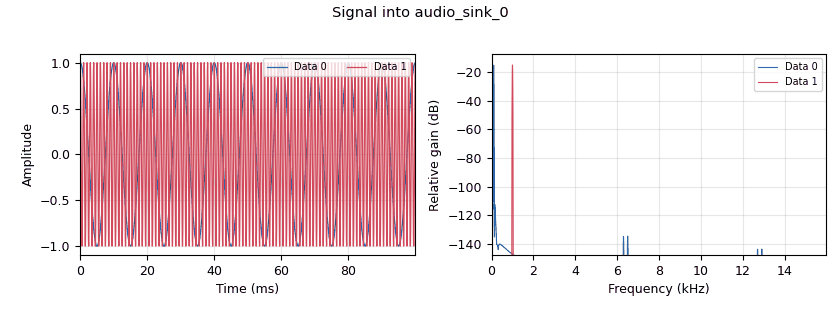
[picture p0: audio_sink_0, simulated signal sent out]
options:
  parameters:
    generate_options: hb_qt_gui
    id: untitled2
    output_language: python
    title: Not titled yet
  states: {}

blocks:
- name: samp_rate
  id: variable
  parameters:
    value: '32000'
  states: {}
- name: analog_sig_source_x_0
  id: analog_sig_source_x
  parameters:
    amp: '1'
    freq: '1000'
    offset: '0'
    phase: '0'
    samp_rate: samp_rate
    type: float
    waveform: analog.GR_COS_WAVE
  states: {}
- name: analog_sig_source_x_1
  id: analog_sig_source_x
  parameters:
    amp: '1'
    freq: '100'
    offset: '0'
    phase: '0'
    samp_rate: samp_rate
    type: float
    waveform: analog.GR_COS_WAVE
  states: {}
- name: audio_sink_0
  id: audio_sink
  parameters:
    num_inputs: '2'
    samp_rate: samp_rate
  states: {}

connections:
- [analog_sig_source_x_0, '0', audio_sink_0, '1']
- [analog_sig_source_x_1, '0', audio_sink_0, '0']

metadata:
  file_format: 1
  grc_version: 3.10.10.0
